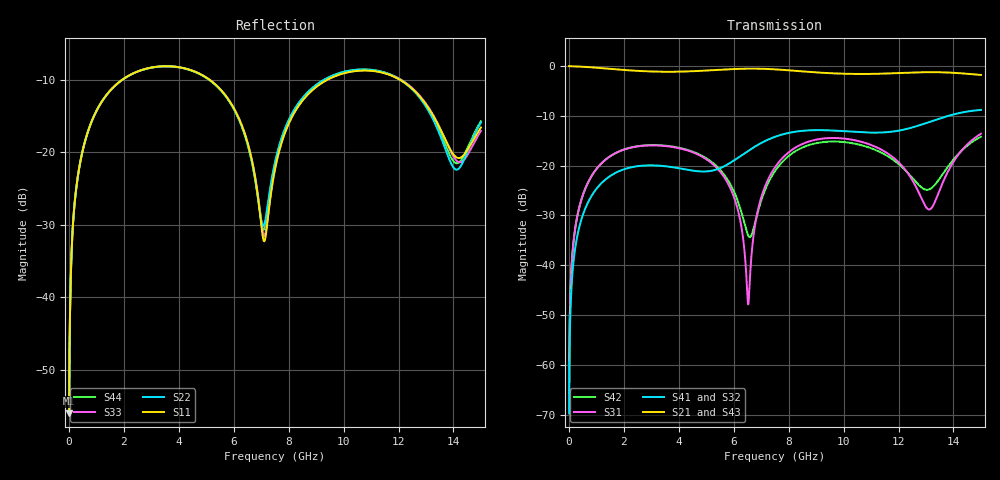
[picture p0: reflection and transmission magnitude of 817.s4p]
! Created with skrf 1.8.0 (http://scikit-rf.org).
# GHz S RI R 50.0
!freq ReS11 ImS11 ReS12 ImS12 ReS13 ImS13
! ReS14 ImS14
! ReS21 ImS21 ReS22 ImS22 ReS23 ImS23
! ReS24 ImS24
! ReS31 ImS31 ReS32 ImS32 ReS33 ImS33
! ReS34 ImS34
! ReS41 ImS41 ReS42 ImS42 ReS43 ImS43
! ReS44 ImS44
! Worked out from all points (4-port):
!   2499 points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, 5 MHz to 15 GHz, reference 50 ohm
!   strongest paths, dB at 5 MHz, 3.476 GHz, 7.19 GHz, 11.1 GHz, 15 GHz:
!     S21: 0.0, -1.1, -0.6, -1.6, -1.8
!     S43: 0.0, -1.1, -0.6, -1.6, -1.8
!     S41: -69.7, -20.1, -14.9, -13.4, -8.8
!     S32: -69.7, -20.1, -14.9, -13.4, -8.8
!     S31: -65.7, -16.0, -23.5, -16.1, -13.6
!     S42: -65.7, -16.0, -24.2, -16.7, -14.2
!   lowest |S11| = -56.0 dB at 5 MHz (marker M1), VSWR 1.00, Z = 50.1 + j0.0964 ohm
!   |S11| at or under -10 dB: start of sweep to 1.939 GHz; 5.119 GHz to 9.406 GHz (4.287 GHz wide, 59 % of centre); 12.05 GHz to end of sweep
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0.005  0.00127 0.000962  0.9987 -0.00247  6.31e-05 0.000516  -6.12e-05 -0.00032
       0.9987 -0.00247  0.00127 0.000962  -6.12e-05 -0.00032  6.31e-05 0.000516
       6.31e-05 0.000516  -6.12e-05 -0.00032  0.00127 0.000962  0.9987 -0.00247
       -6.12e-05 -0.00032  6.31e-05 0.000516  0.9987 -0.00247  0.00127 0.000962
0.4126719  0.0237 0.0828  0.9672 -0.2019  0.0115 0.0403  -0.00951 -0.0247
           0.9672 -0.2019  0.0237 0.0828  -0.00951 -0.0247  0.0116 0.0403
           0.0115 0.0403  -0.00951 -0.0247  0.0237 0.0828  0.9672 -0.2019
           -0.00951 -0.0247  0.0116 0.0403  0.9672 -0.2019  0.0237 0.0828
1.975823  0.2639 0.1806  0.5615 -0.7238  0.1284 0.0659  -0.0911 -0.00804
          0.5615 -0.7238  0.2635 0.1808  -0.0911 -0.008  0.1297 0.0641
          0.1284 0.0659  -0.0911 -0.008  0.2639 0.1807  0.5614 -0.7238
          -0.0911 -0.00804  0.1297 0.0641  0.5614 -0.7238  0.2636 0.1808
6.52772  0.0492 -0.1005  -0.8909 -0.3089  0.00402 0.000404  -0.0424 0.1345
         -0.8909 -0.3089  0.0536 -0.0954  -0.0414 0.1349  -0.0183 -0.00768
         0.00402 0.000404  -0.0414 0.1349  0.0509 -0.1006  -0.8909 -0.3088
         -0.0424 0.1345  -0.0183 -0.00768  -0.8909 -0.3088  0.0523 -0.0964
7.077949  0.0242 -0.00657  -0.9372 -0.0674  0.0167 0.0531  -0.00846 0.1731
          -0.9372 -0.0674  0.0311 -0.00141  -0.00721 0.1731  -0.00951 0.0505
          0.0167 0.0531  -0.00721 0.1731  0.0262 -0.00706  -0.9372 -0.0672
          -0.00846 0.1731  -0.00951 0.0505  -0.9372 -0.0672  0.0292 -0.00196
11.1484  0.3593 -0.0444  0.0557 0.8348  0.1202 -0.0985  0.2029 -0.0703
         0.0557 0.8348  0.3609 -0.0619  0.202 -0.0716  0.1165 -0.0855
         0.1202 -0.0985  0.202 -0.0716  0.3608 -0.0502  0.0566 0.8339
         0.2029 -0.0703  0.1165 -0.0855  0.0566 0.8339  0.3637 -0.0574
15  0.1332 0.0654  0.7985 -0.166  0.1262 0.1669  -0.1091 -0.3463
    0.7985 -0.166  0.1343 0.088  -0.1123 -0.347  0.0725 0.1811
    0.1262 0.1669  -0.1123 -0.347  0.1259 0.0628  0.7984 -0.1675
    -0.1091 -0.3463  0.0725 0.1811  0.7984 -0.1675  0.1408 0.0842
